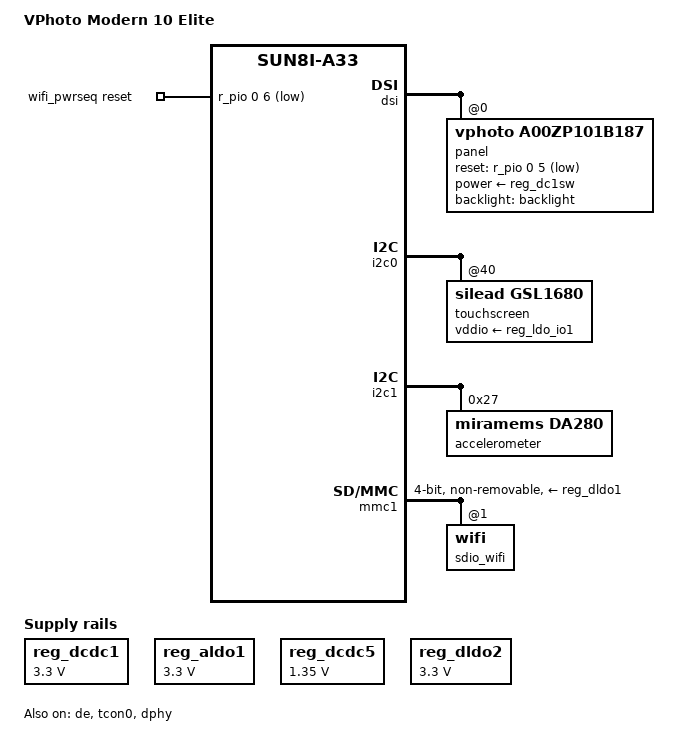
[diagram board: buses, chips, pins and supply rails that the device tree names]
// SPDX-License-Identifier: (GPL-2.0+ OR MIT)
/*
 * VPhoto "Modern 10 Elite" photo frame (Joyhong "astar_ococci" board, A33).
 *
 * Built on the A33 reference tablet include, which this board follows closely
 * (AXP223 on RSB, PWM0 backlight on PH0, card detect PB4, Silead on TWI0 @0x40),
 * then corrected wherever the vendor's sys_config says otherwise. Every value
 * below traces to frame-linux/vendor/sys_config.fex or to the vendor modules;
 * the README's "board, pin by pin" table is the index.
 */

/dts-v1/;
#include "sun8i-a33.dtsi"
#include "sun8i-reference-design-tablet.dtsi"

/ {
	model = "VPhoto Modern 10 Elite";
	compatible = "vphoto,modern10elite", "allwinner,sun8i-a33";

	aliases {
		/* U-Boot fills the Wi-Fi MAC from the SID through this alias */
		ethernet0 = &sdio_wifi;
	};

	wifi_pwrseq: pwrseq {
		compatible = "mmc-pwrseq-simple";
		/* [wifi_para] wl_reg_on = PL6, high = on */
		reset-gpios = <&r_pio 0 6 GPIO_ACTIVE_LOW>;
		post-power-on-delay-ms = <50>;
	};
};

/*
 * [lcd0_para] lcd_bl_en = PL4 (the reference tablet uses PH6), lcd_pwm_pol = 0.
 * The reference tablet inverts the PWM; the vendor config says active-high here.
 * If brightness comes out backwards on the glass, this flag is the one to flip.
 */
&backlight {
	pwms = <&pwm 0 50000 0>;
	enable-gpios = <&r_pio 0 4 GPIO_ACTIVE_HIGH>; /* PL4 */
	default-brightness-level = <10>;
};

&de {
	status = "okay";
};

&tcon0 {
	status = "okay";
};

&dphy {
	status = "okay";
};

/*
 * MIPI-DSI, 4 lanes ([lcd0_para] lcd_if = 4). The controller is unnamed; the
 * driver is ours (kernel/panel-vphoto-a00zp101b187.c) and carries the vendor's
 * init table. vcc-dsi: on the A33 that pin hangs off the 3.0 V AVCC rail.
 */
&dsi {
	vcc-dsi-supply = <&reg_aldo3>;
	status = "okay";

	panel@0 {
		compatible = "vphoto,a00zp101b187";
		reg = <0>;
		power-supply = <&reg_dc1sw>;		/* lcd_power = axp22_dc1sw */
		reset-gpios = <&r_pio 0 5 GPIO_ACTIVE_LOW>; /* PL5, lcd_gpio_0 */
		backlight = <&backlight>;
		/* the glass is portrait-native; the page is landscape (README) */
		rotation = <270>;
	};
};

&i2c0 {
	touchscreen@40 {
		compatible = "silead,gsl1680";
		/* cut from the vendor's gslX680new.ko by tools/gsl-fw-extract.py */
		firmware-name = "gsl1680-vphoto-modern10elite.fw";
		/*
		 * Measured on the glass, not the vendor's flags. The vendor said
		 * ctp_exchange_x_y_flag = 1, ctp_revert_x_flag = 1 (800x1280), which
		 * is the mapping for Android's own rotation; under cage it put the
		 * left third of the page at negative coordinates (touches there never
		 * arrived) and the rest in the wrong place. Five crosshair touches
		 * (shell/calibrate.html) fit one mapping: the firmware reports a
		 * 1024x640 space, 0.8 of the page on both axes, mirrored on both and
		 * not swapped, relative to the landscape picture. wlroots maps it
		 * straight onto the 1280x800 output, so no libinput matrix is needed.
		 */
		touchscreen-size-x = <1024>;
		touchscreen-size-y = <640>;
		touchscreen-inverted-x;
		touchscreen-inverted-y;
		silead,max-fingers = <10>;
		vddio-supply = <&reg_ldo_io1>;		/* ctp_power_ldo = axp22_ldoio1 */
		status = "okay";
	};
};

/*
 * [gsensor_para] gsensor_twi_id = 1, gsensor_twi_addr = 0x27, "mir3da": chip id
 * register 0x01 reads 0x13 on the frame, which is MiraMEMS DA280's -- mainline
 * da280 (an IIO accelerometer). The i2c core matches "da280" from the
 * compatible's suffix. The shell reads it to keep the page upright.
 */
&i2c1 {
	accelerometer@27 {
		compatible = "miramems,da280";
		reg = <0x27>;
	};
};

/*
 * The LRADC carries no buttons on this board: its pin is the "pt3r850" analog
 * light sensor, which the vendor read through a modified sunxi-keyboard module.
 * Off here so lradc-keys doesn't turn light changes into volume presses; the
 * bridge reads it instead (README, "Light sensor").
 */
&lradc {
	status = "disabled";
};

&mmc1 {
	pinctrl-names = "default";
	pinctrl-0 = <&mmc1_pg_pins>;
	vmmc-supply = <&reg_dldo1>;
	mmc-pwrseq = <&wifi_pwrseq>;
	bus-width = <4>;
	non-removable;
	status = "okay";

	/* RTL8723DS, SDIO 024c:d723 -> rtw88_8723ds */
	sdio_wifi: wifi@1 {
		reg = <1>;
	};
};

/* No battery is fitted (AXP reports PRESENT=0): the frame is mains-only. */
&battery_power_supply {
	status = "disabled";
};

/* Rails as the vendor runs them ([power_sply]) where they differ from the Q8. */
&reg_dcdc1 {
	regulator-min-microvolt = <3300000>;
	regulator-max-microvolt = <3300000>;
	regulator-name = "vcc-3v3";
};

&reg_aldo1 {
	regulator-min-microvolt = <3300000>;
	regulator-max-microvolt = <3300000>;
};

&reg_dcdc5 {
	/* DDR3L: the vendor runs VCC-DRAM at 1.35 V */
	regulator-min-microvolt = <1350000>;
	regulator-max-microvolt = <1350000>;
};

&reg_dldo2 {
	/* on at 3.3 V in the vendor config, consumer unknown -- keep it on */
	regulator-always-on;
	regulator-min-microvolt = <3300000>;
	regulator-max-microvolt = <3300000>;
	regulator-name = "vcc-dldo2";
};
